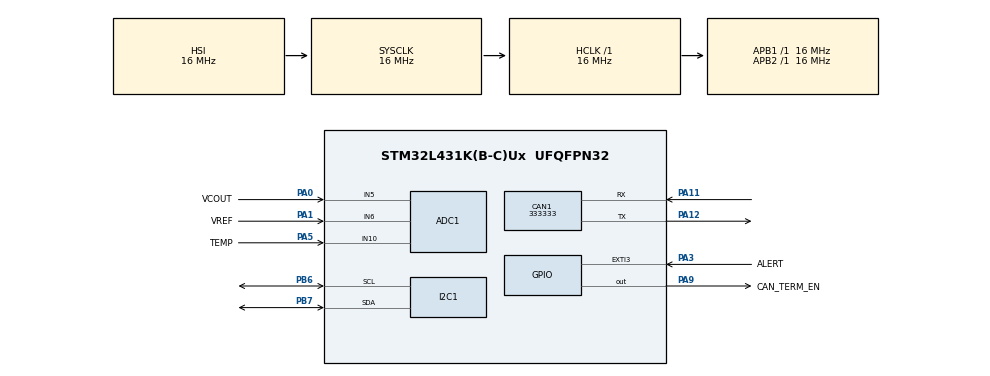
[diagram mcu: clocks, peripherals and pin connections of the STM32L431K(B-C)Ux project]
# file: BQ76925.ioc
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ADC1.Channel-0\#ChannelRegularConversion=ADC_CHANNEL_6
ADC1.NbrOfConversionFlag=1
ADC1.OffsetNumber-0\#ChannelRegularConversion=ADC_OFFSET_NONE
ADC1.Rank-0\#ChannelRegularConversion=1
ADC1.SamplingTime-0\#ChannelRegularConversion=ADC_SAMPLETIME_2CYCLES_5
ADC1.master=1
CAN1.CalculateBaudRate=333333
CAN1.CalculateTimeBit=3000
CAN1.CalculateTimeQuantum=1000.0
I2C1.Timing=0x00503D58
Mcu.Family=STM32L4
Mcu.Name=STM32L431K(B-C)Ux
Mcu.Package=UFQFPN32
NVIC.PriorityGroup=NVIC_PRIORITYGROUP_4
PA0.GPIO_Label=VCOUT
PA0.Signal=ADCx_IN5
PA1.GPIO_Label=VREF
PA1.Signal=ADCx_IN6
PA11.Mode=CAN_Activate
PA11.Signal=CAN1_RX
PA12.Mode=CAN_Activate
PA12.Signal=CAN1_TX
PA13\ (JTMS-SWDIO).Mode=Trace_Asynchronous_SW
PA13\ (JTMS-SWDIO).Signal=SYS_JTMS-SWDIO
PA14\ (JTCK-SWCLK).Mode=Trace_Asynchronous_SW
PA14\ (JTCK-SWCLK).Signal=SYS_JTCK-SWCLK
PA3.GPIO_Label=ALERT
PA3.GPIO_ModeDefaultEXTI=GPIO_MODE_IT_FALLING
PA3.Signal=GPXTI3
PA5.GPIO_Label=TEMP
PA5.Signal=ADCx_IN10
PA9.GPIO_Label=CAN_TERM_EN
PA9.Signal=GPIO_Output
PB3\ (JTDO-TRACESWO).Mode=Trace_Asynchronous_SW
PB3\ (JTDO-TRACESWO).Signal=SYS_JTDO-SWO
PB6.Mode=I2C
PB6.Signal=I2C1_SCL
PB7.Mode=I2C
PB7.Signal=I2C1_SDA
ProjectManager.HeapSize=0x200
ProjectManager.StackSize=0x400
ProjectManager.TargetToolchain=STM32CubeIDE
RCC.ADCFreq_Value=32000000
RCC.AHBFreq_Value=16000000
RCC.APB1Freq_Value=16000000
RCC.APB1TimFreq_Value=16000000
RCC.APB2Freq_Value=16000000
RCC.APB2TimFreq_Value=16000000
RCC.CortexFreq_Value=16000000
RCC.HCLKFreq_Value=16000000
RCC.HSE_VALUE=8000000
RCC.HSI48_VALUE=48000000
RCC.HSI_VALUE=16000000
RCC.LSE_VALUE=32768
RCC.MSI_VALUE=4000000
RCC.PLLSAI1N=16
RCC.SYSCLKFreq_VALUE=16000000
RCC.SYSCLKSource=RCC_SYSCLKSOURCE_HSI
RCC.VCOOutputFreq_Value=32000000
SH.ADCx_IN10.0=ADC1_IN10,IN10-Single-Ended
SH.ADCx_IN5.0=ADC1_IN5,IN5-Single-Ended
SH.ADCx_IN6.0=ADC1_IN6,IN6-Single-Ended
board=custom

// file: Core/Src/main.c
/* USER CODE BEGIN Header */
/**
  ******************************************************************************
  * @file           : main.c
  * @brief          : Main program body
  ******************************************************************************
  * @attention
  *
  * Copyright (c) 2026 STMicroelectronics.
  * All rights reserved.
  *
  * This software is licensed under terms that can be found in the LICENSE file
  * in the root directory of this software component.
  * If no LICENSE file comes with this software, it is provided AS-IS.
  *
  ******************************************************************************
  */
/* USER CODE END Header */
#include "main.h"
#include "BQ76925.h"

ADC_HandleTypeDef hadc1;

CAN_HandleTypeDef hcan1;

I2C_HandleTypeDef hi2c1;

/* USER CODE BEGIN PV */
ADC_calibration_values calibration_vals[7];
uint16_t cell_voltage[6];			// Cell voltages in milivolts
/* USER CODE END PV */

void SystemClock_Config(void);
static void MX_GPIO_Init(void);
static void MX_ADC1_Init(void);
static void MX_CAN1_Init(void);
static void MX_I2C1_Init(void);

/* USER CODE BEGIN 0 */
uint16_t convert_to_voltage(uint32_t adc_val) {
	// Temporarily rough just to test
	uint16_t raw_voltage = (3300.0/4096.0)*adc_val;
	return raw_voltage/0.6;
}

void get_cell_voltages() {
	for(int cell = 0; cell < 6; cell++) {
		HAL_Delay(100);
    	HAL_ADC_Start(&hadc1);
		vcout(&hi2c1, CELL, C1+cell);
    	HAL_ADC_PollForConversion(&hadc1, 1);
    	uint32_t adc_val = HAL_ADC_GetValue(&hadc1);
    	cell_voltage[cell] = convert_to_voltage(adc_val);
	}

}
/* USER CODE END 0 */

int main(void)
{

  /* MCU Configuration--------------------------------------------------------*/

  /* Reset of all peripherals, Initializes the Flash interface and the Systick. */
  HAL_Init();

  /* Configure the system clock */
  SystemClock_Config();

  /* Initialize all configured peripherals */
  MX_GPIO_Init();
  MX_ADC1_Init();
  MX_CAN1_Init();
  MX_I2C1_Init();
  /* USER CODE BEGIN 2 */
  init_BQ76925(&hi2c1, calibration_vals);

  vcout(&hi2c1, CELL, C1);
//  uint8_t reg = test_read_reg(&hi2c1);	// Just to test I2C with IC
  /* USER CODE END 2 */

  /* Infinite loop */
  while (1)
  {

  }
}

void SystemClock_Config(void)
{
  RCC_OscInitTypeDef RCC_OscInitStruct = {0};
  RCC_ClkInitTypeDef RCC_ClkInitStruct = {0};

  /** Configure the main internal regulator output voltage
  */
  if (HAL_PWREx_ControlVoltageScaling(PWR_REGULATOR_VOLTAGE_SCALE1) != HAL_OK)
  {
    Error_Handler();
  }

  /** Initializes the RCC Oscillators according to the specified parameters
  * in the RCC_OscInitTypeDef structure.
  */
  RCC_OscInitStruct.OscillatorType = RCC_OSCILLATORTYPE_HSI|RCC_OSCILLATORTYPE_MSI;
  RCC_OscInitStruct.HSIState = RCC_HSI_ON;
  RCC_OscInitStruct.HSICalibrationValue = RCC_HSICALIBRATION_DEFAULT;
  RCC_OscInitStruct.MSIState = RCC_MSI_ON;
  RCC_OscInitStruct.MSICalibrationValue = 0;
  RCC_OscInitStruct.MSIClockRange = RCC_MSIRANGE_6;
  RCC_OscInitStruct.PLL.PLLState = RCC_PLL_NONE;
  if (HAL_RCC_OscConfig(&RCC_OscInitStruct) != HAL_OK)
  {
    Error_Handler();
  }

  /** Initializes the CPU, AHB and APB buses clocks
  */
  RCC_ClkInitStruct.ClockType = RCC_CLOCKTYPE_HCLK|RCC_CLOCKTYPE_SYSCLK
                              |RCC_CLOCKTYPE_PCLK1|RCC_CLOCKTYPE_PCLK2;
  RCC_ClkInitStruct.SYSCLKSource = RCC_SYSCLKSOURCE_HSI;
  RCC_ClkInitStruct.AHBCLKDivider = RCC_SYSCLK_DIV1;
  RCC_ClkInitStruct.APB1CLKDivider = RCC_HCLK_DIV1;
  RCC_ClkInitStruct.APB2CLKDivider = RCC_HCLK_DIV1;

  if (HAL_RCC_ClockConfig(&RCC_ClkInitStruct, FLASH_LATENCY_0) != HAL_OK)
  {
    Error_Handler();
  }
}

static void MX_ADC1_Init(void)
{

  ADC_ChannelConfTypeDef sConfig = {0};

  /** Common config
  */
  hadc1.Instance = ADC1;
  hadc1.Init.ClockPrescaler = ADC_CLOCK_ASYNC_DIV1;
  hadc1.Init.Resolution = ADC_RESOLUTION_12B;
  hadc1.Init.DataAlign = ADC_DATAALIGN_RIGHT;
  hadc1.Init.ScanConvMode = ADC_SCAN_DISABLE;
  hadc1.Init.EOCSelection = ADC_EOC_SINGLE_CONV;
  hadc1.Init.LowPowerAutoWait = DISABLE;
  hadc1.Init.ContinuousConvMode = DISABLE;
  hadc1.Init.NbrOfConversion = 1;
  hadc1.Init.DiscontinuousConvMode = DISABLE;
  hadc1.Init.ExternalTrigConv = ADC_SOFTWARE_START;
  hadc1.Init.ExternalTrigConvEdge = ADC_EXTERNALTRIGCONVEDGE_NONE;
  hadc1.Init.DMAContinuousRequests = DISABLE;
  hadc1.Init.Overrun = ADC_OVR_DATA_PRESERVED;
  hadc1.Init.OversamplingMode = DISABLE;
  if (HAL_ADC_Init(&hadc1) != HAL_OK)
  {
    Error_Handler();
  }

  /** Configure Regular Channel
  */
  sConfig.Channel = ADC_CHANNEL_6;
  sConfig.Rank = ADC_REGULAR_RANK_1;
  sConfig.SamplingTime = ADC_SAMPLETIME_2CYCLES_5;
  sConfig.SingleDiff = ADC_SINGLE_ENDED;
  sConfig.OffsetNumber = ADC_OFFSET_NONE;
  sConfig.Offset = 0;
  if (HAL_ADC_ConfigChannel(&hadc1, &sConfig) != HAL_OK)
  {
    Error_Handler();
  }

}

static void MX_CAN1_Init(void)
{

  hcan1.Instance = CAN1;
  hcan1.Init.Prescaler = 16;
  hcan1.Init.Mode = CAN_MODE_NORMAL;
  hcan1.Init.SyncJumpWidth = CAN_SJW_1TQ;
  hcan1.Init.TimeSeg1 = CAN_BS1_1TQ;
  hcan1.Init.TimeSeg2 = CAN_BS2_1TQ;
  hcan1.Init.TimeTriggeredMode = DISABLE;
  hcan1.Init.AutoBusOff = DISABLE;
  hcan1.Init.AutoWakeUp = DISABLE;
  hcan1.Init.AutoRetransmission = DISABLE;
  hcan1.Init.ReceiveFifoLocked = DISABLE;
  hcan1.Init.TransmitFifoPriority = DISABLE;
  if (HAL_CAN_Init(&hcan1) != HAL_OK)
  {
    Error_Handler();
  }

}

static void MX_I2C1_Init(void)
{

  hi2c1.Instance = I2C1;
  hi2c1.Init.Timing = 0x00503D58;
  hi2c1.Init.OwnAddress1 = 0;
  hi2c1.Init.AddressingMode = I2C_ADDRESSINGMODE_7BIT;
  hi2c1.Init.DualAddressMode = I2C_DUALADDRESS_DISABLE;
  hi2c1.Init.OwnAddress2 = 0;
  hi2c1.Init.OwnAddress2Masks = I2C_OA2_NOMASK;
  hi2c1.Init.GeneralCallMode = I2C_GENERALCALL_DISABLE;
  hi2c1.Init.NoStretchMode = I2C_NOSTRETCH_DISABLE;
  if (HAL_I2C_Init(&hi2c1) != HAL_OK)
  {
    Error_Handler();
  }

  /** Configure Analogue filter
  */
  if (HAL_I2CEx_ConfigAnalogFilter(&hi2c1, I2C_ANALOGFILTER_ENABLE) != HAL_OK)
  {
    Error_Handler();
  }

  /** Configure Digital filter
  */
  if (HAL_I2CEx_ConfigDigitalFilter(&hi2c1, 0) != HAL_OK)
  {
    Error_Handler();
  }

}

static void MX_GPIO_Init(void)
{
  GPIO_InitTypeDef GPIO_InitStruct = {0};

  /* GPIO Ports Clock Enable */
  __HAL_RCC_GPIOA_CLK_ENABLE();
  __HAL_RCC_GPIOB_CLK_ENABLE();

  /*Configure GPIO pin Output Level */
  HAL_GPIO_WritePin(CAN_TERM_EN_GPIO_Port, CAN_TERM_EN_Pin, GPIO_PIN_RESET);

  /*Configure GPIO pin : ALERT_Pin */
  GPIO_InitStruct.Pin = ALERT_Pin;
  GPIO_InitStruct.Mode = GPIO_MODE_IT_FALLING;
  GPIO_InitStruct.Pull = GPIO_NOPULL;
  HAL_GPIO_Init(ALERT_GPIO_Port, &GPIO_InitStruct);

  /*Configure GPIO pin : CAN_TERM_EN_Pin */
  GPIO_InitStruct.Pin = CAN_TERM_EN_Pin;
  GPIO_InitStruct.Mode = GPIO_MODE_OUTPUT_PP;
  GPIO_InitStruct.Pull = GPIO_NOPULL;
  GPIO_InitStruct.Speed = GPIO_SPEED_FREQ_LOW;
  HAL_GPIO_Init(CAN_TERM_EN_GPIO_Port, &GPIO_InitStruct);

}

void Error_Handler(void)
{
  __disable_irq();
  while (1)
  {
  }
}
